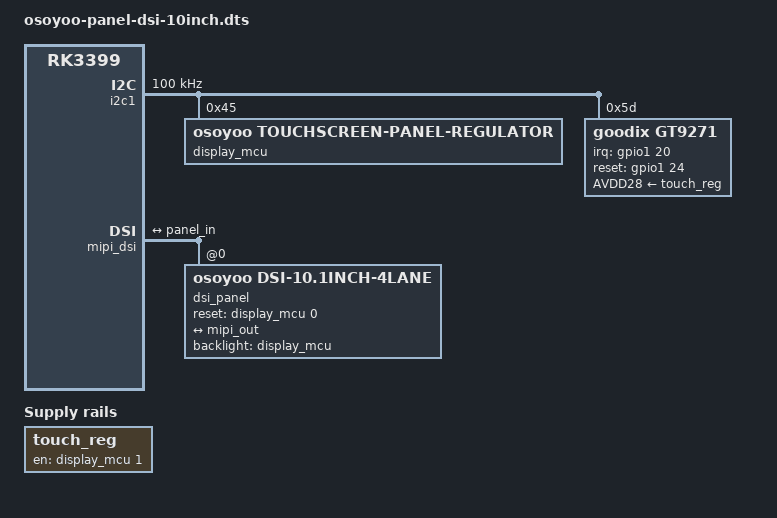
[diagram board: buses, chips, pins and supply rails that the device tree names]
/dts-v1/;
/plugin/;

/ {
	compatible = "rockchip,rk3399";

	fragment@0 {
		target = <&i2c1>;
		__overlay__ {
			#address-cells = <1>;
			#size-cells = <0>;
			status = "okay";
			clock-frequency = <100000>;

			display_mcu: display_mcu@45 {
				compatible = "osoyoo,touchscreen-panel-regulator";
				reg = <0x45>;
				gpio-controller;
				#gpio-cells = <2>;
			};

			gt9271: gt9271@5d {
				compatible = "goodix,gt9271";
				reg = <0x5d>;
				interrupt-parent = <&gpio1>;
				interrupts = <20 2>; /* GPIO1_C4, IRQ_TYPE_EDGE_FALLING */
				irq-gpios = <&gpio1 20 0>;
				reset-gpios = <&gpio1 24 0>; /* GPIO1_D0 */
				AVDD28-supply = <&touch_reg>;
				touchscreen-size-x = <800>;
				touchscreen-size-y = <1280>;
				touchscreen-x-mm = <135>;
				touchscreen-y-mm = <216>;
			};
		};
	};

	fragment@1 {
		target = <&mipi_dsi>;
		__overlay__ {
			#address-cells = <1>;
			#size-cells = <0>;
			status = "okay";

			ports {
				#address-cells = <1>;
				#size-cells = <0>;

				port@0 {
					reg = <0>;
					mipi_out: endpoint {
						remote-endpoint = <&panel_in>;
					};
				};
			};

			dsi_panel: panel@0 {
				compatible = "osoyoo,dsi-10.1inch-4lane";
				reg = <0>;
				reset-gpio = <&display_mcu 0 0>;
				backlight = <&display_mcu>;

				port {
					panel_in: endpoint {
						remote-endpoint = <&mipi_out>;
					};
				};
			};
		};
	};

	fragment@2 {
		target-path = "/";
		__overlay__ {
			touch_reg: touch_reg {
				compatible = "regulator-fixed";
				regulator-name = "touch_reg";
				gpio = <&display_mcu 1 1>;
				startup-delay-us = <50000>;
				enable-active-high;
			};
		};
	};

	fragment@10 {
		target = <&gt9271>;
		__dormant__ {
			touchscreen-inverted-x;
		};
	};

	fragment@11 {
		target = <&gt9271>;
		__dormant__ {
			touchscreen-inverted-y;
		};
	};

	__overrides__ {
		2lane = <&dsi_panel>, "compatible=osoyoo,dsi-10.1inch-2lane";
		sizex = <&gt9271>,"touchscreen-size-x:0";
		sizey = <&gt9271>,"touchscreen-size-y:0";
		invx = <0>, "+10";
		invy = <0>, "+11";
		swapxy = <&gt9271>,"touchscreen-swapped-x-y?";
		disable_touch = <&gt9271>, "status=disabled";
		rotation = <&dsi_panel>, "rotation:0";
	};
};
